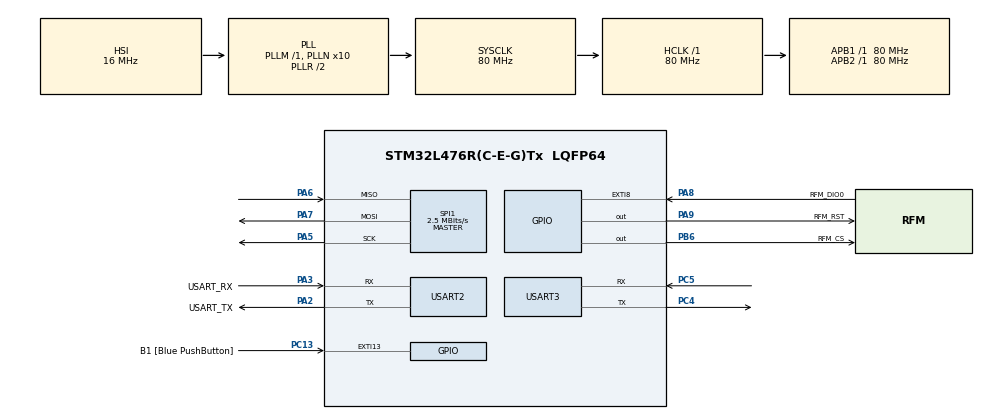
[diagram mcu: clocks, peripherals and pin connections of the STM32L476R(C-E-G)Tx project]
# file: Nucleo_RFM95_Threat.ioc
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Dma.Request0=USART3_TX
Dma.USART3_TX.0.Direction=DMA_MEMORY_TO_PERIPH
Dma.USART3_TX.0.Instance=DMA1_Channel2
Dma.USART3_TX.0.MemDataAlignment=DMA_MDATAALIGN_BYTE
Dma.USART3_TX.0.MemInc=DMA_MINC_ENABLE
Dma.USART3_TX.0.Mode=DMA_NORMAL
Dma.USART3_TX.0.PeriphDataAlignment=DMA_PDATAALIGN_BYTE
Dma.USART3_TX.0.PeriphInc=DMA_PINC_DISABLE
Dma.USART3_TX.0.Priority=DMA_PRIORITY_LOW
Mcu.Family=STM32L4
Mcu.Name=STM32L476R(C-E-G)Tx
Mcu.Package=LQFP64
NVIC.DMA1_Channel2_IRQn=true\:0\:0\:false\:false\:true\:false\:true\:true
NVIC.EXTI9_5_IRQn=true\:0\:0\:false\:false\:true\:true\:true\:true
NVIC.PriorityGroup=NVIC_PRIORITYGROUP_4
NVIC.TIM2_IRQn=true\:0\:0\:false\:false\:true\:true\:true\:true
NVIC.USART3_IRQn=true\:0\:0\:false\:false\:true\:true\:true\:true
PA13\ (JTMS-SWDIO).GPIO_Label=TMS
PA13\ (JTMS-SWDIO).Mode=Serial_Wire
PA13\ (JTMS-SWDIO).Signal=SYS_JTMS-SWDIO
PA14\ (JTCK-SWCLK).GPIO_Label=TCK
PA14\ (JTCK-SWCLK).Mode=Serial_Wire
PA14\ (JTCK-SWCLK).Signal=SYS_JTCK-SWCLK
PA2.GPIO_Label=USART_TX
PA2.GPIO_Mode=GPIO_MODE_AF_PP
PA2.GPIO_PuPd=GPIO_NOPULL
PA2.GPIO_Speed=GPIO_SPEED_FREQ_VERY_HIGH
PA2.Mode=Asynchronous
PA2.Signal=USART2_TX
PA3.GPIO_Label=USART_RX
PA3.GPIO_Mode=GPIO_MODE_AF_PP
PA3.GPIO_PuPd=GPIO_NOPULL
PA3.GPIO_Speed=GPIO_SPEED_FREQ_VERY_HIGH
PA3.Mode=Asynchronous
PA3.Signal=USART2_RX
PA5.Mode=Full_Duplex_Master
PA5.Signal=SPI1_SCK
PA6.Mode=Full_Duplex_Master
PA6.Signal=SPI1_MISO
PA7.Mode=Full_Duplex_Master
PA7.Signal=SPI1_MOSI
PA8.GPIO_Label=RFM_DIO0
PA8.Signal=GPXTI8
PA9.GPIO_Label=RFM_RST
PA9.Signal=GPIO_Output
PB3\ (JTDO-TRACESWO).GPIO_Label=SWO
PB3\ (JTDO-TRACESWO).Signal=SYS_JTDO-SWO
PB6.GPIO_Label=RFM_CS
PB6.Signal=GPIO_Output
PC13.GPIO_Label=B1 [Blue PushButton]
PC13.GPIO_ModeDefaultEXTI=GPIO_MODE_IT_FALLING
PC13.GPIO_PuPd=GPIO_NOPULL
PC13.Signal=GPXTI13
PC14-OSC32_IN\ (PC14).Mode=LSE-External-Oscillator
PC14-OSC32_IN\ (PC14).Signal=RCC_OSC32_IN
PC15-OSC32_OUT\ (PC15).Mode=LSE-External-Oscillator
PC15-OSC32_OUT\ (PC15).Signal=RCC_OSC32_OUT
PC4.Mode=Asynchronous
PC4.Signal=USART3_TX
PC5.Mode=Asynchronous
PC5.Signal=USART3_RX
PH0-OSC_IN\ (PH0).Signal=RCC_OSC_IN
PH1-OSC_OUT\ (PH1).Signal=RCC_OSC_OUT
ProjectManager.HeapSize=0x200
ProjectManager.StackSize=0x400
ProjectManager.TargetToolchain=CMake
RCC.ADCFreq_Value=64000000
RCC.AHBFreq_Value=80000000
RCC.APB1Freq_Value=80000000
RCC.APB1TimFreq_Value=80000000
RCC.APB2Freq_Value=80000000
RCC.APB2TimFreq_Value=80000000
RCC.CortexFreq_Value=80000000
RCC.HCLKFreq_Value=80000000
RCC.HSE_VALUE=8000000
RCC.HSI_VALUE=16000000
RCC.MSI_VALUE=4000000
RCC.PLLN=10
RCC.PLLSourceVirtual=RCC_PLLSOURCE_HSI
RCC.PREFETCH_ENABLE=1
RCC.SYSCLKFreq_VALUE=80000000
RCC.SYSCLKSource=RCC_SYSCLKSOURCE_PLLCLK
RCC.USBFreq_Value=64000000
RCC.VCOOutputFreq_Value=160000000
SPI1.BaudRatePrescaler=SPI_BAUDRATEPRESCALER_32
SPI1.CalculateBaudRate=2.5 MBits/s
SPI1.DataSize=SPI_DATASIZE_8BIT
SPI1.Direction=SPI_DIRECTION_2LINES
SPI1.Mode=SPI_MODE_MASTER
SPI1.VirtualType=VM_MASTER
TIM2.Period=999
TIM2.Prescaler=79
USART2.VirtualMode-Asynchronous=VM_ASYNC
USART3.VirtualMode-Asynchronous=VM_ASYNC
VP_TIM2_VS_ClockSourceINT.Mode=Internal
board=NUCLEO-L476RG

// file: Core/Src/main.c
/* USER CODE BEGIN Header */
/**
  ******************************************************************************
  * @file           : main.c
  * @brief          : Main program body
  ******************************************************************************
  * @attention
  *
  * Copyright (c) 2026 STMicroelectronics.
  * All rights reserved.
  *
  * This software is licensed under terms that can be found in the LICENSE file
  * in the root directory of this software component.
  * If no LICENSE file comes with this software, it is provided AS-IS.
  *
  ******************************************************************************
  */
/* USER CODE END Header */
#include "main.h"

/* USER CODE BEGIN Includes */
#include "stdio.h"
#include "string.h"

/* USER CODE END Includes */

/* USER CODE BEGIN PTD */
typedef struct {
    uint8_t  raw[32];          /* 32-byte radio packet as received */
    uint32_t rx_timestamp_ms;
    int8_t   rssi_dbm;
    int8_t   snr_q025;         /* 0.25 dB resolution */
    int16_t  freq_error_hz;
} intercepted_pkt_t;

typedef struct {
    int8_t   rssi_dbm;
    uint32_t last_seen_ms;
} rssi_obs_t;
/* USER CODE END PTD */

/* USER CODE BEGIN PD */
#define PKT_TYPE_DATA      0x00
#define PKT_TYPE_ACK       0x01
#define PKT_TYPE_PAUSE     0x02

#define MOD_KIND_LORA      0x01
#define MOD_KIND_FSK       0x02
#define MOD_KIND_OOK       0x03

#define BEACON_ID_A        0x01
#define BEACON_ID_B        0x02
#define BEACON_ID_THREAT   0xFF

#define RING_SIZE          16u                         /* power of two */
#define RING_MASK          (RING_SIZE - 1u)

#define RSSI_STALE_MS      5000u
#define PAUSE_PERIOD_MS    100u
#define PAUSE_HOLDOFF_UNITS 5u                         /* 5 * 100 ms = 500 ms */

/* --- Campaign-configurable radio parameters --------------------------------
 * Edit these two defines between campaign runs; do not change register
 * addresses or any other values in lora_init().
 *
 * LORA_SF:         Spreading factor 7-12 (must match Target A)
 * LORA_TX_PWR_DBM: TX output power in dBm (Threat jams at +20 dBm typically)
 * -------------------------------------------------------------------------- */
#define LORA_SF          7
#define LORA_TX_PWR_DBM  20

/* Derived register values -- do not edit below this line */
#define REG_MODEM_CONFIG2_VAL  ((LORA_SF << 4) | 0x04)
#define REG_PA_CONFIG_VAL      (0x80 | ((LORA_TX_PWR_DBM - 2) & 0x0F))

/* USER CODE END PD */

SPI_HandleTypeDef hspi1;

TIM_HandleTypeDef htim2;

UART_HandleTypeDef huart2;
UART_HandleTypeDef huart3;
DMA_HandleTypeDef hdma_usart3_tx;

/* USER CODE BEGIN PV */
static intercepted_pkt_t ring[RING_SIZE];
volatile uint32_t ring_head = 0;                       /* writer (ISR)       */
volatile uint32_t ring_tail = 0;                       /* reader (main loop) */
volatile uint32_t dropped   = 0;
volatile uint32_t rx_count  = 0;

static volatile rssi_obs_t rssi_table[256];

static uint8_t   tx_frame[43];
volatile uint8_t tx_busy = 0;
/* USER CODE END PV */

void SystemClock_Config(void);
static void MX_GPIO_Init(void);
static void MX_DMA_Init(void);
static void MX_SPI1_Init(void);
static void MX_USART2_UART_Init(void);
static void MX_USART3_UART_Init(void);
static void MX_TIM2_Init(void);
/* USER CODE BEGIN PFP */
int __io_putchar(int ch);
uint8_t rfm_read_reg(uint8_t addr);
void rfm_write_reg(uint8_t addr, uint8_t val);
void lora_init(void);
void rfm_set_mode_rx(void);
void rfm_set_mode_standby(void);
uint16_t crc16_ccitt(const uint8_t *data, int len);
void build_packet(uint8_t *buf, uint8_t sender_id, uint16_t seq,
                  uint8_t pkt_type, uint8_t mod_kind);
static uint8_t crc8_itu(const uint8_t *buf, uint32_t len);
static void build_forwarding_frame(uint8_t out[43], const intercepted_pkt_t *pkt);
static int find_highest_rssi_id(uint8_t *out_id);
static int ring_push(const intercepted_pkt_t *src);
static int ring_pop(intercepted_pkt_t *dst);
static int16_t read_fei_hz(void);
/* USER CODE END PFP */

int main(void)
{

  /* MCU Configuration--------------------------------------------------------*/

  /* Reset of all peripherals, Initializes the Flash interface and the Systick. */
  HAL_Init();

  /* Configure the system clock */
  SystemClock_Config();

  /* Initialize all configured peripherals */
  MX_GPIO_Init();
  MX_DMA_Init();
  MX_SPI1_Init();
  MX_USART2_UART_Init();
  MX_USART3_UART_Init();
  MX_TIM2_Init();
  /* USER CODE BEGIN 2 */
  const uint8_t *uid = (const uint8_t *)0x1FFF7590U;
  char uid_str[25];
  snprintf(uid_str, sizeof(uid_str),
           "%02X%02X%02X%02X%02X%02X%02X%02X%02X%02X%02X%02X",
           uid[0], uid[1], uid[2], uid[3],
           uid[4], uid[5], uid[6], uid[7],
           uid[8], uid[9], uid[10], uid[11]);

  const char *board_name = "Unknown";
  if (strcmp(uid_str, "500022000350453151313620") == 0) board_name = "Board 3";
  else if (strcmp(uid_str, "400052001750563042313320") == 0) board_name = "Board 2";
  else if (strcmp(uid_str, "360020000350453151313620") == 0) board_name = "Board 1";

  printf("UID: %s --> %s\r\n", uid_str, board_name);

  /* Reset the RFM95W */
  HAL_GPIO_WritePin(RFM_RST_GPIO_Port, RFM_RST_Pin, GPIO_PIN_RESET);
  HAL_Delay(1);
  HAL_GPIO_WritePin(RFM_RST_GPIO_Port, RFM_RST_Pin, GPIO_PIN_SET);
  HAL_Delay(10);

  uint8_t version = rfm_read_reg(0x42);
  printf("RegVersion = 0x%02X\r\n", version);

  lora_init();

  for (int i = 0; i < 256; i++) {
    rssi_table[i].rssi_dbm     = -128;
    rssi_table[i].last_seen_ms = 0;
  }

  rfm_set_mode_rx();

  uint32_t last_pause_tx_ms = 0;
  uint16_t pause_seq        = 0;
  uint32_t last_stats_ms    = HAL_GetTick();

  printf("Threat (Interceptor, ID=0x%02X) ready\r\n", BEACON_ID_THREAT);

  /* USER CODE END 2 */

  /* Infinite loop */
  /* USER CODE BEGIN WHILE */
  while (1)
  {
    /* --- Drain ring buffer and forward frames to FPGA over USART3 --- */
    intercepted_pkt_t pkt;
    while (ring_pop(&pkt))
    {
      /* Wait for any prior DMA TX to drain. 43 bytes @115200 = ~3.7 ms. */
      uint32_t deadline = HAL_GetTick() + 10u;
      while (tx_busy && HAL_GetTick() < deadline) { /* spin */ }
      if (tx_busy) { dropped++; continue; }

      build_forwarding_frame(tx_frame, &pkt);
      tx_busy = 1;
      HAL_UART_Transmit_DMA(&huart3, tx_frame, 43);

      uint16_t seq      = (uint16_t)pkt.raw[3] | ((uint16_t)pkt.raw[4] << 8);
      uint8_t  mod_byte = pkt.raw[6];
      uint8_t  pkt_type = mod_byte & 0x03u;
      uint8_t  mod_kind = (mod_byte >> 2) & 0x3Fu;

      printf("CSV,RX,%02X,%u,%u,%u,%lu,%d,%d\r\n",
             pkt.raw[2],
             (unsigned)pkt_type,
             (unsigned)mod_kind,
             (unsigned)seq,
             (unsigned long)pkt.rx_timestamp_ms,
             (int)pkt.rssi_dbm,
             (int)(pkt.snr_q025 / 4));
    }

    /* --- PAUSE TX scheduler (button-gated, ~10 Hz while held) --- */
    if (HAL_GPIO_ReadPin(B1_GPIO_Port, B1_Pin) == GPIO_PIN_RESET)
    {
      uint32_t now = HAL_GetTick();
      if ((now - last_pause_tx_ms) >= PAUSE_PERIOD_MS)
      {
        uint8_t target_id;
        if (find_highest_rssi_id(&target_id) == 0)
        {
          uint8_t pkt_buf[32];
          build_packet(pkt_buf, BEACON_ID_THREAT, pause_seq,
                       PKT_TYPE_PAUSE, MOD_KIND_LORA);
          pkt_buf[13] = target_id;
          pkt_buf[14] = PAUSE_HOLDOFF_UNITS;
          for (int i = 15; i < 30; i++) pkt_buf[i] = 0xAA;
          uint16_t crc = crc16_ccitt(pkt_buf, 30);
          pkt_buf[30] = (uint8_t)(crc >> 8);
          pkt_buf[31] = (uint8_t)(crc);

          /* Half-duplex: drop out of RX, TX, then return to RX. */
          rfm_set_mode_standby();
          rfm_write_reg(0x0D, rfm_read_reg(0x0E));
          for (int i = 0; i < 32; i++) rfm_write_reg(0x00, pkt_buf[i]);
          rfm_write_reg(0x22, 32);
          rfm_write_reg(0x12, 0xFF);
          rfm_write_reg(0x01, 0x83);

          uint32_t tx_deadline = HAL_GetTick() + 200u;
          while (HAL_GetTick() < tx_deadline
                 && (rfm_read_reg(0x12) & 0x08) == 0)
          {
            /* spin */
          }
          rfm_write_reg(0x12, 0xFF);
          rfm_set_mode_rx();

          int8_t rssi = rssi_table[target_id].rssi_dbm;
          printf("PAUSE -> ID=%02X (RSSI=%d dBm, seq=%u)\r\n",
                 target_id, (int)rssi, (unsigned)pause_seq);

          last_pause_tx_ms = now;
          pause_seq++;
        }
        else
        {
          /* Throttle the "no target" message to 1 Hz */
          if ((now - last_pause_tx_ms) >= 1000u)
          {
            printf("no PAUSE target available\r\n");
            last_pause_tx_ms = now;
          }
        }
      }
    }

    /* --- Periodic stats + per-ID RSSI snapshot (1 Hz) ---
     *
     * Three blocks of diagnostic output to USART2, gated to once per second
     * by last_stats_ms. The PAUSE TX scheduler only logs when it actually
     * emits a PAUSE, so without these snapshots there is no visibility into
     * what the Threat is hearing or why a particular target is (or isn't)
     * being selected. Each block answers a different question:
     *
     *   1. # stats:  ISR throughput (rx) vs. main-loop drop count (dropped).
     *      Used to detect ring-buffer overflow or USART3 TX backpressure.
     *
     *   2. # rssi[ID=...]:  one line per Beacon ID ever observed. Shows the
     *      most recent RSSI and the age of that observation. Entries older
     *      than RSSI_STALE_MS are flagged [STALE], meaning they will be
     *      excluded from find_highest_rssi_id(). This makes it obvious when
     *      a Target has gone quiet long enough to drop out of selection.
     *
     *   3. # target:  result of an unconditional find_highest_rssi_id()
     *      call. Shows who the Threat would jam right now if the button
     *      were pressed -- without actually pressing it. The whole point
     *      of this line is to make re-acquisition behavior observable
     *      ("does the target flip to ID=02 when I move A away?").
     */
    if ((HAL_GetTick() - last_stats_ms) >= 1000u)
    {
      uint32_t now = HAL_GetTick();
      last_stats_ms = now;

      /* Block 1: ISR throughput vs. main-loop drops. */
      printf("# stats: rx=%lu dropped=%lu\r\n",
             (unsigned long)rx_count,
             (unsigned long)dropped);

      /* Block 2: per-ID RSSI table dump. Skip never-seen entries
       * (last_seen_ms == 0) and the Threat's own beacon ID.             */
      for (int i = 1; i < 256; i++) {
        if (i == BEACON_ID_THREAT) continue;
        if (rssi_table[i].last_seen_ms == 0) continue;
        uint32_t age = now - rssi_table[i].last_seen_ms;
        const char *flag = (age > RSSI_STALE_MS) ? " [STALE]" : "";
        printf("# rssi[ID=0x%02X]=%d dBm age=%lu ms%s\r\n",
               (unsigned)i,
               (int)rssi_table[i].rssi_dbm,
               (unsigned long)age,
               flag);
      }

      /* Block 3: current PAUSE-target choice (if any non-stale entry). */
      uint8_t cur_id;
      if (find_highest_rssi_id(&cur_id) == 0) {
        printf("# target: ID=0x%02X RSSI=%d dBm\r\n",
               (unsigned)cur_id,
               (int)rssi_table[cur_id].rssi_dbm);
      } else {
        printf("# target: none (no fresh observations)\r\n");
      }
    }
    /* USER CODE END WHILE */

  }
}

void SystemClock_Config(void)
{
  RCC_OscInitTypeDef RCC_OscInitStruct = {0};
  RCC_ClkInitTypeDef RCC_ClkInitStruct = {0};

  /** Configure the main internal regulator output voltage
  */
  if (HAL_PWREx_ControlVoltageScaling(PWR_REGULATOR_VOLTAGE_SCALE1) != HAL_OK)
  {
    Error_Handler();
  }

  /** Initializes the RCC Oscillators according to the specified parameters
  * in the RCC_OscInitTypeDef structure.
  */
  RCC_OscInitStruct.OscillatorType = RCC_OSCILLATORTYPE_HSI;
  RCC_OscInitStruct.HSIState = RCC_HSI_ON;
  RCC_OscInitStruct.HSICalibrationValue = RCC_HSICALIBRATION_DEFAULT;
  RCC_OscInitStruct.PLL.PLLState = RCC_PLL_ON;
  RCC_OscInitStruct.PLL.PLLSource = RCC_PLLSOURCE_HSI;
  RCC_OscInitStruct.PLL.PLLM = 1;
  RCC_OscInitStruct.PLL.PLLN = 10;
  RCC_OscInitStruct.PLL.PLLP = RCC_PLLP_DIV7;
  RCC_OscInitStruct.PLL.PLLQ = RCC_PLLQ_DIV2;
  RCC_OscInitStruct.PLL.PLLR = RCC_PLLR_DIV2;
  if (HAL_RCC_OscConfig(&RCC_OscInitStruct) != HAL_OK)
  {
    Error_Handler();
  }

  /** Initializes the CPU, AHB and APB buses clocks
  */
  RCC_ClkInitStruct.ClockType = RCC_CLOCKTYPE_HCLK|RCC_CLOCKTYPE_SYSCLK
                              |RCC_CLOCKTYPE_PCLK1|RCC_CLOCKTYPE_PCLK2;
  RCC_ClkInitStruct.SYSCLKSource = RCC_SYSCLKSOURCE_PLLCLK;
  RCC_ClkInitStruct.AHBCLKDivider = RCC_SYSCLK_DIV1;
  RCC_ClkInitStruct.APB1CLKDivider = RCC_HCLK_DIV1;
  RCC_ClkInitStruct.APB2CLKDivider = RCC_HCLK_DIV1;

  if (HAL_RCC_ClockConfig(&RCC_ClkInitStruct, FLASH_LATENCY_4) != HAL_OK)
  {
    Error_Handler();
  }
}

static void MX_SPI1_Init(void)
{

  /* SPI1 parameter configuration*/
  hspi1.Instance = SPI1;
  hspi1.Init.Mode = SPI_MODE_MASTER;
  hspi1.Init.Direction = SPI_DIRECTION_2LINES;
  hspi1.Init.DataSize = SPI_DATASIZE_8BIT;
  hspi1.Init.CLKPolarity = SPI_POLARITY_LOW;
  hspi1.Init.CLKPhase = SPI_PHASE_1EDGE;
  hspi1.Init.NSS = SPI_NSS_SOFT;
  hspi1.Init.BaudRatePrescaler = SPI_BAUDRATEPRESCALER_32;
  hspi1.Init.FirstBit = SPI_FIRSTBIT_MSB;
  hspi1.Init.TIMode = SPI_TIMODE_DISABLE;
  hspi1.Init.CRCCalculation = SPI_CRCCALCULATION_DISABLE;
  hspi1.Init.CRCPolynomial = 7;
  hspi1.Init.CRCLength = SPI_CRC_LENGTH_DATASIZE;
  hspi1.Init.NSSPMode = SPI_NSS_PULSE_ENABLE;
  if (HAL_SPI_Init(&hspi1) != HAL_OK)
  {
    Error_Handler();
  }

}

static void MX_TIM2_Init(void)
{

  TIM_ClockConfigTypeDef sClockSourceConfig = {0};
  TIM_MasterConfigTypeDef sMasterConfig = {0};

  htim2.Instance = TIM2;
  htim2.Init.Prescaler = 79;
  htim2.Init.CounterMode = TIM_COUNTERMODE_UP;
  htim2.Init.Period = 999;
  htim2.Init.ClockDivision = TIM_CLOCKDIVISION_DIV1;
  htim2.Init.AutoReloadPreload = TIM_AUTORELOAD_PRELOAD_DISABLE;
  if (HAL_TIM_Base_Init(&htim2) != HAL_OK)
  {
    Error_Handler();
  }
  sClockSourceConfig.ClockSource = TIM_CLOCKSOURCE_INTERNAL;
  if (HAL_TIM_ConfigClockSource(&htim2, &sClockSourceConfig) != HAL_OK)
  {
    Error_Handler();
  }
  sMasterConfig.MasterOutputTrigger = TIM_TRGO_RESET;
  sMasterConfig.MasterSlaveMode = TIM_MASTERSLAVEMODE_DISABLE;
  if (HAL_TIMEx_MasterConfigSynchronization(&htim2, &sMasterConfig) != HAL_OK)
  {
    Error_Handler();
  }

}

static void MX_USART2_UART_Init(void)
{

  huart2.Instance = USART2;
  huart2.Init.BaudRate = 115200;
  huart2.Init.WordLength = UART_WORDLENGTH_8B;
  huart2.Init.StopBits = UART_STOPBITS_1;
  huart2.Init.Parity = UART_PARITY_NONE;
  huart2.Init.Mode = UART_MODE_TX_RX;
  huart2.Init.HwFlowCtl = UART_HWCONTROL_NONE;
  huart2.Init.OverSampling = UART_OVERSAMPLING_16;
  huart2.Init.OneBitSampling = UART_ONE_BIT_SAMPLE_DISABLE;
  huart2.AdvancedInit.AdvFeatureInit = UART_ADVFEATURE_NO_INIT;
  if (HAL_UART_Init(&huart2) != HAL_OK)
  {
    Error_Handler();
  }

}

static void MX_USART3_UART_Init(void)
{

  huart3.Instance = USART3;
  huart3.Init.BaudRate = 115200;
  huart3.Init.WordLength = UART_WORDLENGTH_8B;
  huart3.Init.StopBits = UART_STOPBITS_1;
  huart3.Init.Parity = UART_PARITY_NONE;
  huart3.Init.Mode = UART_MODE_TX_RX;
  huart3.Init.HwFlowCtl = UART_HWCONTROL_NONE;
  huart3.Init.OverSampling = UART_OVERSAMPLING_16;
  huart3.Init.OneBitSampling = UART_ONE_BIT_SAMPLE_DISABLE;
  huart3.AdvancedInit.AdvFeatureInit = UART_ADVFEATURE_NO_INIT;
  if (HAL_UART_Init(&huart3) != HAL_OK)
  {
    Error_Handler();
  }

}

static void MX_DMA_Init(void)
{

  /* DMA controller clock enable */
  __HAL_RCC_DMA1_CLK_ENABLE();

  /* DMA interrupt init */
  /* DMA1_Channel2_IRQn interrupt configuration */
  HAL_NVIC_SetPriority(DMA1_Channel2_IRQn, 0, 0);
  HAL_NVIC_EnableIRQ(DMA1_Channel2_IRQn);

}

static void MX_GPIO_Init(void)
{
  GPIO_InitTypeDef GPIO_InitStruct = {0};

  /* GPIO Ports Clock Enable */
  __HAL_RCC_GPIOC_CLK_ENABLE();
  __HAL_RCC_GPIOH_CLK_ENABLE();
  __HAL_RCC_GPIOA_CLK_ENABLE();
  __HAL_RCC_GPIOB_CLK_ENABLE();

  /*Configure GPIO pin Output Level */
  HAL_GPIO_WritePin(RFM_RST_GPIO_Port, RFM_RST_Pin, GPIO_PIN_RESET);

  /*Configure GPIO pin Output Level */
  HAL_GPIO_WritePin(RFM_CS_GPIO_Port, RFM_CS_Pin, GPIO_PIN_RESET);

  /*Configure GPIO pin : B1_Pin */
  GPIO_InitStruct.Pin = B1_Pin;
  GPIO_InitStruct.Mode = GPIO_MODE_IT_FALLING;
  GPIO_InitStruct.Pull = GPIO_NOPULL;
  HAL_GPIO_Init(B1_GPIO_Port, &GPIO_InitStruct);

  /*Configure GPIO pin : RFM_DIO0_Pin */
  GPIO_InitStruct.Pin = RFM_DIO0_Pin;
  GPIO_InitStruct.Mode = GPIO_MODE_IT_RISING;
  GPIO_InitStruct.Pull = GPIO_NOPULL;
  HAL_GPIO_Init(RFM_DIO0_GPIO_Port, &GPIO_InitStruct);

  /*Configure GPIO pin : RFM_RST_Pin */
  GPIO_InitStruct.Pin = RFM_RST_Pin;
  GPIO_InitStruct.Mode = GPIO_MODE_OUTPUT_PP;
  GPIO_InitStruct.Pull = GPIO_NOPULL;
  GPIO_InitStruct.Speed = GPIO_SPEED_FREQ_LOW;
  HAL_GPIO_Init(RFM_RST_GPIO_Port, &GPIO_InitStruct);

  /*Configure GPIO pin : RFM_CS_Pin */
  GPIO_InitStruct.Pin = RFM_CS_Pin;
  GPIO_InitStruct.Mode = GPIO_MODE_OUTPUT_PP;
  GPIO_InitStruct.Pull = GPIO_NOPULL;
  GPIO_InitStruct.Speed = GPIO_SPEED_FREQ_LOW;
  HAL_GPIO_Init(RFM_CS_GPIO_Port, &GPIO_InitStruct);

  /* EXTI interrupt init*/
  HAL_NVIC_SetPriority(EXTI9_5_IRQn, 0, 0);
  HAL_NVIC_EnableIRQ(EXTI9_5_IRQn);

}

/* USER CODE BEGIN 4 */
int __io_putchar(int ch)
{
  HAL_UART_Transmit(&huart2, (uint8_t *)&ch, 1, HAL_MAX_DELAY);
  return ch;
}

uint8_t rfm_read_reg(uint8_t addr)
{
  uint8_t tx[2] = {addr & 0x7F, 0x00};
  uint8_t rx[2] = {0, 0};

  HAL_GPIO_WritePin(RFM_CS_GPIO_Port, RFM_CS_Pin, GPIO_PIN_RESET);
  HAL_SPI_TransmitReceive(&hspi1, tx, rx, 2, HAL_MAX_DELAY);
  HAL_GPIO_WritePin(RFM_CS_GPIO_Port, RFM_CS_Pin, GPIO_PIN_SET);

  return rx[1];
}

void rfm_write_reg(uint8_t addr, uint8_t val)
{
  uint8_t tx[2] = {addr | 0x80, val};

  HAL_GPIO_WritePin(RFM_CS_GPIO_Port, RFM_CS_Pin, GPIO_PIN_RESET);
  HAL_SPI_Transmit(&hspi1, tx, 2, HAL_MAX_DELAY);
  HAL_GPIO_WritePin(RFM_CS_GPIO_Port, RFM_CS_Pin, GPIO_PIN_SET);
}

void lora_init(void)
{
  rfm_write_reg(0x01, 0x80);
  HAL_Delay(10);

  rfm_write_reg(0x06, 0xE2);
  rfm_write_reg(0x07, 0xA0);
  rfm_write_reg(0x08, 0x00);

  rfm_write_reg(0x1D, 0x72);
  rfm_write_reg(0x1E, REG_MODEM_CONFIG2_VAL);

  rfm_write_reg(0x20, 0x00);
  rfm_write_reg(0x21, 0x08);

  rfm_write_reg(0x39, 0x34);

  rfm_write_reg(0x09, REG_PA_CONFIG_VAL);

  rfm_write_reg(0x0E, 0x80);
  rfm_write_reg(0x0F, 0x00);

  /* Map DIO0 -> RxDone (bits 7:6 = 00 in RegDioMapping1) */
  rfm_write_reg(0x40, 0x00);

  rfm_write_reg(0x01, 0x81);
  HAL_Delay(10);

  printf("lora_init done: SF=%d TxPwr=%d dBm\r\n", LORA_SF, LORA_TX_PWR_DBM);
}

void rfm_set_mode_standby(void)
{
  rfm_write_reg(0x01, 0x81);
}

void rfm_set_mode_rx(void)
{
  rfm_write_reg(0x0D, rfm_read_reg(0x0F));
  rfm_write_reg(0x12, 0xFF);
  rfm_write_reg(0x01, 0x85);
}

uint16_t crc16_ccitt(const uint8_t *data, int len)
{
  uint16_t crc = 0xFFFF;
  for (int i = 0; i < len; i++)
  {
    crc ^= ((uint16_t)data[i]) << 8;
    for (int b = 0; b < 8; b++)
    {
      crc = (crc & 0x8000) ? (uint16_t)((crc << 1) ^ 0x1021)
                           : (uint16_t)(crc << 1);
    }
  }
  return crc;
}

void build_packet(uint8_t *buf, uint8_t sender_id, uint16_t seq,
                  uint8_t pkt_type, uint8_t mod_kind)
{
  buf[0] = 0xAE;
  buf[1] = 0x5A;
  buf[2] = sender_id;
  buf[3] = (uint8_t)(seq);
  buf[4] = (uint8_t)(seq >> 8);
  buf[5] = 14;
  buf[6] = (uint8_t)((mod_kind << 2) | (pkt_type & 0x03));
  buf[7] = 7;
  buf[8] = 0x00;

  uint32_t ts = HAL_GetTick();
  buf[9]  = (uint8_t)(ts);
  buf[10] = (uint8_t)(ts >> 8);
  buf[11] = (uint8_t)(ts >> 16);
  buf[12] = (uint8_t)(ts >> 24);

  for (int i = 13; i < 30; i++)
  {
    buf[i] = 0xA5;
  }

  uint16_t crc = crc16_ccitt(buf, 30);
  buf[30] = (uint8_t)(crc >> 8);
  buf[31] = (uint8_t)(crc);
}

/* CRC-8/ITU: poly=0x07, init=0x00, no reflect, xorout=0x00. */
static uint8_t crc8_itu(const uint8_t *buf, uint32_t len)
{
  uint8_t crc = 0x00u;
  for (uint32_t i = 0; i < len; i++)
  {
    crc ^= buf[i];
    for (int b = 0; b < 8; b++)
    {
      crc = (crc & 0x80u) ? (uint8_t)((crc << 1) ^ 0x07u)
                          : (uint8_t)(crc << 1);
    }
  }
  return crc;
}

static void build_forwarding_frame(uint8_t out[43], const intercepted_pkt_t *pkt)
{
  out[0] = 0x7Eu;
  out[1] = 0x29u;                                      /* length = 41 */

  out[2] = (uint8_t)(pkt->rx_timestamp_ms      );
  out[3] = (uint8_t)(pkt->rx_timestamp_ms >>  8);
  out[4] = (uint8_t)(pkt->rx_timestamp_ms >> 16);
  out[5] = (uint8_t)(pkt->rx_timestamp_ms >> 24);

  out[6] = (uint8_t)pkt->rssi_dbm;
  out[7] = (uint8_t)pkt->snr_q025;

  out[8] = (uint8_t)(pkt->freq_error_hz      );
  out[9] = (uint8_t)(pkt->freq_error_hz >>  8);

  for (int i = 0; i < 32; i++) out[10 + i] = pkt->raw[i];

  out[42] = crc8_itu(&out[1], 41);                     /* over bytes 1..41 */
}

/* SX1276 frequency-error registers (RegFei[H/M/L] at 0x1D..0x1F).
 * 20-bit signed value; coarse Hz conversion ok at BW=125 kHz. */
static int16_t read_fei_hz(void)
{
  uint8_t h = rfm_read_reg(0x1Du);
  uint8_t m = rfm_read_reg(0x1Eu);
  uint8_t l = rfm_read_reg(0x1Fu);
  int32_t raw = ((int32_t)(h & 0x0Fu) << 16)
              |  ((int32_t)m            <<  8)
              |   (int32_t)l;
  if (raw & 0x00080000) raw |= 0xFFF00000;             /* sign-extend 20-bit */
  int32_t hz = (raw * 32) / 1000;
  if (hz >  32767) hz =  32767;
  if (hz < -32768) hz = -32768;
  return (int16_t)hz;
}

/* Producer: ISR context. Returns 1 on success, 0 on overflow. */
static int ring_push(const intercepted_pkt_t *src)
{
  uint32_t head = ring_head;
  uint32_t next = (head + 1u) & RING_MASK;
  if (next == ring_tail) {
    dropped++;
    return 0;
  }
  ring[head] = *src;
  __DMB();
  ring_head = next;
  return 1;
}

/* Consumer: main-loop context. Returns 1 if a packet was dequeued. */
static int ring_pop(intercepted_pkt_t *dst)
{
  uint32_t tail = ring_tail;
  if (tail == ring_head) return 0;
  *dst = ring[tail];
  __DMB();
  ring_tail = (tail + 1u) & RING_MASK;
  return 1;
}

static int find_highest_rssi_id(uint8_t *out_id)
{
  int8_t   best_rssi = -128;
  int      best_id   = -1;
  uint32_t now       = HAL_GetTick();
  for (int i = 1; i < 256; i++) {
    if (i == BEACON_ID_THREAT) continue;
    if (rssi_table[i].last_seen_ms == 0) continue;
    if ((now - rssi_table[i].last_seen_ms) > RSSI_STALE_MS) continue;
    if (rssi_table[i].rssi_dbm > best_rssi) {
      best_rssi = rssi_table[i].rssi_dbm;
      best_id   = i;
    }
  }
  if (best_id < 0) return -1;
  *out_id = (uint8_t)best_id;
  return 0;
}

void HAL_GPIO_EXTI_Callback(uint16_t GPIO_Pin)
{
  if (GPIO_Pin != RFM_DIO0_Pin) return;

  uint8_t irq = rfm_read_reg(0x12u);
  if ((irq & 0x40u) == 0u) {                           /* not RxDone */
    rfm_write_reg(0x12u, 0xFFu);
    return;
  }
  if (irq & 0x20u) {                                   /* PayloadCrcError */
    rfm_write_reg(0x12u, 0xFFu);
    return;
  }

  intercepted_pkt_t pkt;
  uint8_t rx_addr = rfm_read_reg(0x10u);               /* RegFifoRxCurrentAddr */
  rfm_write_reg(0x0Du, rx_addr);
  for (int i = 0; i < 32; i++) pkt.raw[i] = rfm_read_reg(0x00u);

  pkt.rx_timestamp_ms = HAL_GetTick();
  pkt.rssi_dbm        = (int8_t)((int16_t)rfm_read_reg(0x1Au) - 157);
  pkt.snr_q025        = (int8_t)rfm_read_reg(0x19u);
  pkt.freq_error_hz   = read_fei_hz();

  uint8_t sender = pkt.raw[2];
  rssi_table[sender].rssi_dbm     = pkt.rssi_dbm;
  rssi_table[sender].last_seen_ms = pkt.rx_timestamp_ms;

  (void)ring_push(&pkt);
  rx_count++;
  rfm_write_reg(0x12u, 0xFFu);                         /* clear all IRQ flags */
}

void HAL_UART_TxCpltCallback(UART_HandleTypeDef *huart)
{
  if (huart->Instance == USART3) tx_busy = 0;
}
/* USER CODE END 4 */

void Error_Handler(void)
{
  __disable_irq();
  while (1)
  {
  }
}
